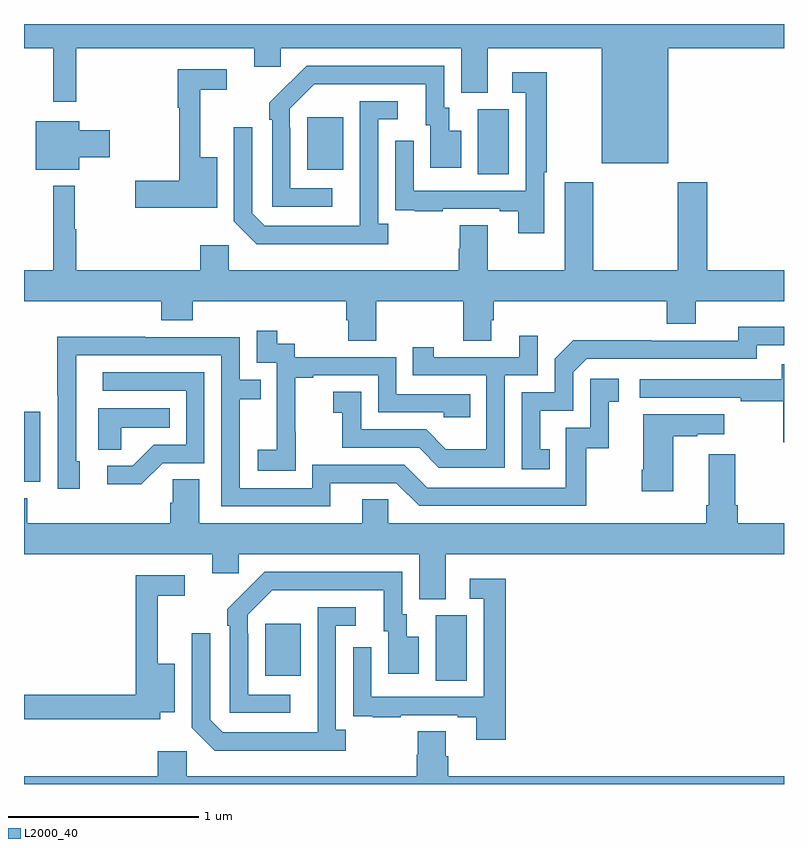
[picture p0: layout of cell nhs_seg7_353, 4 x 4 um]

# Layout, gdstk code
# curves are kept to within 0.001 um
import gdstk
lib = gdstk.Library(unit=1e-6, precision=1e-09)
def R(c, l, rs):  # rectangles x0, y0, x1, y1
    for r in rs: c.add(gdstk.rectangle(r[:2], r[2:], *l))
def P(c, l, *ps):  # polygons
    for p in ps: c.add(gdstk.Polygon(p, *l))
L2000_40 = (2000, 40)

nhs_seg7_353 = lib.new_cell('nhs_seg7_353')
R(nhs_seg7_353, L2000_40, [(139.166,1074.544,139.33,1074.888), (138.269,1074.569,138.457,1074.844), (137,1075.59,137.085,1075.96), (139.388,1077.208,139.552,1077.552), (138.491,1077.233,138.679,1077.508)])
P(nhs_seg7_353, L2000_40, [(140.392,1077.872),(141,1077.872),(141,1078),(137,1078),(137,1077.872),(137.153,1077.872),(137.153,1077.591),(137.275,1077.591),(137.275,1077.872),(138.212,1077.872),(138.212,1077.774),(138.351,1077.774),(138.351,1077.872),(139.301,1077.872),(139.301,1077.637),(139.441,1077.637),(139.441,1077.872),(140.042,1077.872),(140.042,1077.266),(140.392,1077.266)],
  [(138.622,1077.135),(138.402,1077.135),(138.402,1077.455),(138.399,1077.455),(138.399,1077.555),(138.528,1077.684),(139.115,1077.684),(139.115,1077.468),(139.139,1077.468),(139.139,1077.243),(139.3,1077.243),(139.3,1077.439),(139.237,1077.439),(139.237,1077.558),(139.212,1077.558),(139.212,1077.78),(138.488,1077.78),(138.291,1077.585),(138.291,1077.497),(138.306,1077.497),(138.306,1077.039),(138.622,1077.039)],
  [(138.016,1077.298),(137.927,1077.298),(137.927,1077.654),(138.067,1077.654),(138.067,1077.762),(137.809,1077.762),(137.809,1077.559),(137.817,1077.559),(137.817,1077.176),(137.586,1077.176),(137.586,1077.034),(138.016,1077.034)],
  [(139.737,1077.22),(139.75,1077.22),(139.75,1077.745),(139.569,1077.745),(139.569,1077.639),(139.641,1077.639),(139.641,1077.123),(139.05,1077.123),(139.05,1077.385),(138.954,1077.385),(138.954,1077.13),(138.955,1077.13),(138.955,1077.021),(139.057,1077.021),(139.057,1077.015),(139.205,1077.015),(139.205,1077.027),(139.505,1077.027),(139.505,1077.015),(139.601,1077.015),(139.601,1076.898),(139.737,1076.898)],
  [(138.916,1076.95),(138.864,1076.95),(138.864,1077.498),(138.967,1077.498),(138.967,1077.594),(138.768,1077.594),(138.767,1076.937),(138.267,1076.937),(138.201,1077.003),(138.201,1077.457),(138.105,1077.457),(138.105,1076.961),(138.226,1076.84),(138.916,1076.84)],
  [(137.29,1077.299),(137.452,1077.299),(137.452,1077.441),(137.29,1077.441),(137.29,1077.487),(137.063,1077.487),(137.063,1077.233),(137.29,1077.233)],
  [(138.855,1076.54),(139.312,1076.54),(139.312,1076.332),(139.459,1076.332),(139.459,1076.442),(139.472,1076.442),(139.472,1076.54),(140.384,1076.54),(140.384,1076.423),(140.536,1076.423),(140.536,1076.54),(141,1076.54),(141,1076.704),(140.595,1076.704),(140.595,1077.166),(140.44,1077.166),(140.44,1076.704),(139.995,1076.704),(139.995,1077.166),(139.847,1077.166),(139.847,1076.704),(139.441,1076.704),(139.441,1076.942),(139.294,1076.942),(139.294,1076.817),(139.289,1076.817),(139.289,1076.704),(138.078,1076.704),(138.078,1076.836),(137.927,1076.836),(137.927,1076.704),(137.275,1076.704),(137.275,1076.921),(137.267,1076.921),(137.267,1077.148),(137.153,1077.148),(137.153,1076.704),(137,1076.704),(137,1076.54),(137.723,1076.54),(137.723,1076.441),(137.888,1076.441),(137.888,1076.54),(138.695,1076.54),(138.695,1076.442),(138.707,1076.442),(138.707,1076.332),(138.855,1076.332)],
  [(139.766,1075.761),(139.717,1075.761),(139.717,1075.965),(139.89,1075.965),(139.89,1076.166),(139.962,1076.238),(140.856,1076.238),(140.856,1076.31),(141,1076.31),(141,1076.407),(140.76,1076.407),(140.76,1076.334),(140.3,1076.334),(140.3,1076.336),(139.892,1076.336),(139.794,1076.238),(139.794,1076.061),(139.62,1076.061),(139.62,1075.656),(139.766,1075.656)],
  [(138.429,1075.855),(138.428,1075.855),(138.428,1076.139),(138.523,1076.139),(138.523,1076.151),(138.864,1076.151),(138.864,1075.956),(139.209,1075.956),(139.209,1075.929),(139.349,1075.929),(139.349,1076.052),(138.96,1076.052),(138.96,1076.247),(138.426,1076.247),(138.426,1076.316),(138.334,1076.316),(138.334,1076.386),(138.225,1076.386),(138.225,1076.217),(138.33,1076.217),(138.33,1075.988),(138.329,1075.988),(138.329,1075.759),(138.231,1075.759),(138.231,1075.649),(138.429,1075.649)],
  [(139.53,1076.151),(139.704,1076.151),(139.704,1076.359),(139.607,1076.359),(139.607,1076.247),(139.156,1076.247),(139.156,1076.299),(139.045,1076.299),(139.045,1076.151),(139.434,1076.151),(139.434,1075.762),(139.22,1075.762),(139.116,1075.866),(138.774,1075.866),(138.774,1076.065),(138.627,1076.065),(138.627,1075.955),(138.676,1075.955),(138.676,1075.77),(139.079,1075.77),(139.184,1075.665),(139.53,1075.665)],
  [(138.613,1075.584),(138.96,1075.584),(139.08,1075.464),(139.96,1075.464),(139.96,1075.767),(140.078,1075.767),(140.078,1076.013),(140.131,1076.013),(140.131,1076.134),(139.98,1076.134),(139.98,1075.875),(139.851,1075.875),(139.851,1075.56),(139.122,1075.56),(139.002,1075.68),(138.516,1075.68),(138.516,1075.557),(138.135,1075.557),(138.135,1076.026),(138.245,1076.026),(138.245,1076.127),(138.135,1076.127),(138.135,1076.352),(137.639,1076.352),(137.639,1076.354),(137.176,1076.354),(137.176,1076.047),(137.178,1076.047),(137.178,1075.554),(137.293,1075.554),(137.293,1075.698),(137.274,1075.698),(137.274,1076.256),(138.039,1076.256),(138.039,1075.461),(138.613,1075.461)],
  [(141,1076.209),(140.989,1076.209),(140.989,1076.13),(140.241,1076.13),(140.241,1076.034),(140.773,1076.034),(140.773,1076.014),(140.997,1076.014),(140.997,1075.8),(141,1075.8)],
  [(137.73,1075.689),(137.949,1075.689),(137.949,1076.166),(137.415,1076.166),(137.415,1076.07),(137.853,1076.07),(137.853,1075.785),(137.684,1075.785),(137.573,1075.674),(137.439,1075.674),(137.439,1075.577),(137.617,1075.577)],
  [(137.511,1075.874),(137.768,1075.874),(137.768,1075.978),(137.39,1075.978),(137.39,1075.759),(137.511,1075.759)],
  [(140.416,1075.831),(140.543,1075.831),(140.543,1075.841),(140.686,1075.841),(140.686,1075.945),(140.258,1075.945),(140.258,1075.654),(140.251,1075.654),(140.251,1075.542),(140.416,1075.542)],
  [(139.219,1075.208),(141,1075.208),(141,1075.372),(140.756,1075.372),(140.756,1075.468),(140.743,1075.468),(140.743,1075.735),(140.603,1075.735),(140.603,1075.468),(140.591,1075.468),(140.591,1075.372),(138.918,1075.372),(138.918,1075.499),(138.779,1075.499),(138.779,1075.372),(137.923,1075.372),(137.923,1075.604),(137.784,1075.604),(137.784,1075.481),(137.771,1075.481),(137.771,1075.372),(137.018,1075.372),(137.018,1075.505),(137,1075.505),(137,1075.208),(137.99,1075.208),(137.99,1075.11),(138.129,1075.11),(138.129,1075.208),(139.079,1075.208),(139.079,1074.973),(139.219,1074.973)],
  [(138.4,1074.471),(138.18,1074.471),(138.18,1074.791),(138.177,1074.791),(138.177,1074.891),(138.306,1075.02),(138.893,1075.02),(138.893,1074.804),(138.917,1074.804),(138.917,1074.579),(139.078,1074.579),(139.078,1074.775),(139.015,1074.775),(139.015,1074.894),(138.99,1074.894),(138.99,1075.116),(138.266,1075.116),(138.069,1074.921),(138.069,1074.833),(138.084,1074.833),(138.084,1074.375),(138.4,1074.375)],
  [(137.718,1074.377),(137.794,1074.377),(137.794,1074.634),(137.705,1074.634),(137.705,1074.99),(137.845,1074.99),(137.845,1075.098),(137.587,1075.098),(137.587,1074.47),(137,1074.47),(137,1074.342),(137.718,1074.342)],
  [(139.535,1075.081),(139.347,1075.081),(139.347,1074.975),(139.419,1074.975),(139.419,1074.459),(138.828,1074.459),(138.828,1074.721),(138.732,1074.721),(138.732,1074.466),(138.733,1074.466),(138.733,1074.357),(138.835,1074.357),(138.835,1074.351),(138.983,1074.351),(138.983,1074.363),(139.283,1074.363),(139.283,1074.351),(139.379,1074.351),(139.379,1074.234),(139.535,1074.234)],
  [(138.694,1074.286),(138.642,1074.286),(138.642,1074.834),(138.745,1074.834),(138.745,1074.93),(138.546,1074.93),(138.545,1074.273),(138.045,1074.273),(137.979,1074.339),(137.979,1074.793),(137.883,1074.793),(137.883,1074.297),(138.004,1074.176),(138.694,1074.176)],
  [(141,1074.04),(139.232,1074.04),(139.232,1074.146),(139.219,1074.146),(139.219,1074.278),(139.072,1074.278),(139.072,1074.153),(139.067,1074.153),(139.067,1074.04),(137.856,1074.04),(137.856,1074.172),(137.705,1074.172),(137.705,1074.04),(137,1074.04),(137,1074),(141,1074)])

lib.write_gds('nhs_seg7_353.gds')
